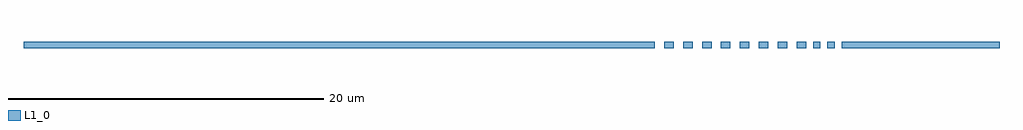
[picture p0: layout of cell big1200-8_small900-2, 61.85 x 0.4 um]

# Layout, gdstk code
import gdstk
lib = gdstk.Library(unit=1e-6, precision=1e-09)
def R(c, l, rs):  # rectangles x0, y0, x1, y1
    for r in rs: c.add(gdstk.rectangle(r[:2], r[2:], *l))
def A(c, l, x, y, w, h, nx, ny, dx, dy):  # array of equal rectangles
    R(c, l, [(x+i*dx, y+j*dy, x+i*dx+w, y+j*dy+h) for i in range(nx) for j in range(ny)])
L1_0 = (1, 0)

big1200_8_small900_2 = lib.new_cell('big1200-8_small900-2')
A(big1200_8_small900_2, L1_0, 0.6, 0, 0.6, 0.4, 8, 1, 1.2, 0)
R(big1200_8_small900_2, L1_0, [(-40,0,0,0.4), (10.05,0,10.5,0.4), (10.95,0,11.4,0.4), (11.85,0,21.85,0.4)])

lib.write_gds('big1200-8_small900-2.gds')
